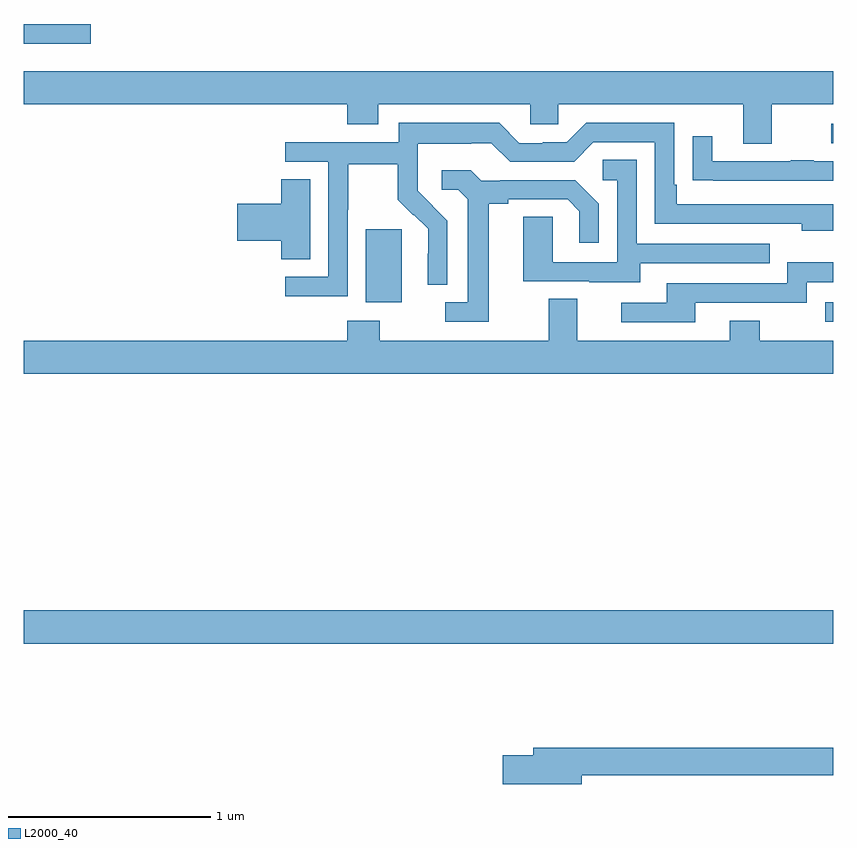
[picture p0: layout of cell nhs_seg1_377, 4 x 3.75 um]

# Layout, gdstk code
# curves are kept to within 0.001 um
import gdstk
lib = gdstk.Library(unit=1e-6, precision=1e-09)
def R(c, l, rs):  # rectangles x0, y0, x1, y1
    for r in rs: c.add(gdstk.rectangle(r[:2], r[2:], *l))
def P(c, l, *ps):  # polygons
    for p in ps: c.add(gdstk.Polygon(p, *l))
L2000_40 = (2000, 40)

nhs_seg1_377 = lib.new_cell('nhs_seg1_377')
R(nhs_seg1_377, L2000_40, [(131,557.06,135,557.224), (134.961,558.651,135,558.747), (132.689,558.746,132.868,559.107), (134.991,559.533,135,559.629), (131,560.024,131.332,560.121)])
P(nhs_seg1_377, L2000_40, [(134.695,559.724),(135,559.724),(135,559.888),(131,559.888),(131,559.724),(132.599,559.724),(132.599,559.625),(132.751,559.625),(132.751,559.724),(133.503,559.724),(133.503,559.626),(133.641,559.626),(133.641,559.724),(134.555,559.724),(134.555,559.53),(134.695,559.53)],
  [(132.6,559.204),(132.603,559.204),(132.603,559.428),(132.847,559.428),(132.847,559.253),(132.924,559.176),(132.927,559.179),(132.998,559.109),(132.998,558.986),(132.996,558.986),(132.996,558.832),(133.092,558.832),(133.092,559.15),(132.946,559.298),(132.946,559.395),(132.948,559.395),(132.948,559.529),(133.211,559.529),(133.211,559.533),(133.311,559.533),(133.404,559.44),(133.719,559.44),(133.815,559.536),(134.118,559.536),(134.118,559.134),(134.843,559.134),(134.843,559.1),(135,559.1),(135,559.23),(134.227,559.23),(134.227,559.327),(134.214,559.327),(134.214,559.632),(133.779,559.632),(133.683,559.536),(133.565,559.536),(133.565,559.533),(133.449,559.533),(133.349,559.633),(132.852,559.633),(132.852,559.536),(132.291,559.536),(132.291,559.44),(132.504,559.44),(132.504,558.873),(132.291,558.873),(132.291,558.775),(132.6,558.775)],
  [(135,559.443),(134.903,559.443),(134.903,559.448),(134.791,559.448),(134.791,559.443),(134.401,559.443),(134.401,559.567),(134.305,559.567),(134.305,559.348),(134.407,559.348),(134.407,559.347),(135,559.347)],
  [(134.047,558.939),(134.687,558.939),(134.687,559.035),(134.028,559.035),(134.028,559.451),(133.86,559.451),(133.86,559.35),(133.932,559.35),(133.932,558.945),(133.614,558.945),(133.614,559.169),(133.469,559.169),(133.469,558.849),(133.793,558.849),(133.793,558.845),(134.047,558.845)],
  [(133.297,559.232),(133.393,559.232),(133.393,559.254),(133.688,559.254),(133.745,559.197),(133.745,559.041),(133.842,559.041),(133.842,559.234),(133.726,559.35),(133.354,559.35),(133.354,559.347),(133.26,559.347),(133.208,559.399),(133.065,559.399),(133.065,559.302),(133.146,559.302),(133.193,559.255),(133.193,558.747),(133.083,558.747),(133.083,558.651),(133.297,558.651)],
  [(132.415,559.355),(132.272,559.355),(132.272,559.232),(132.054,559.232),(132.054,559.049),(132.272,559.049),(132.272,558.958),(132.415,558.958)],
  [(134.317,558.744),(134.868,558.744),(134.868,558.846),(135,558.846),(135,558.943),(134.772,558.943),(134.772,558.84),(134.177,558.84),(134.177,558.744),(133.953,558.744),(133.953,558.648),(134.317,558.648)],
  [(135,558.556),(134.637,558.556),(134.637,558.655),(134.489,558.655),(134.489,558.556),(133.735,558.556),(133.735,558.764),(133.595,558.764),(133.595,558.556),(132.759,558.556),(132.759,558.655),(132.599,558.655),(132.599,558.556),(131,558.556),(131,558.392),(135,558.392)],
  [(133.756,556.408),(135,556.408),(135,556.544),(133.517,556.544),(133.517,556.508),(133.368,556.508),(133.368,556.366),(133.756,556.366)])

lib.write_gds('nhs_seg1_377.gds')
